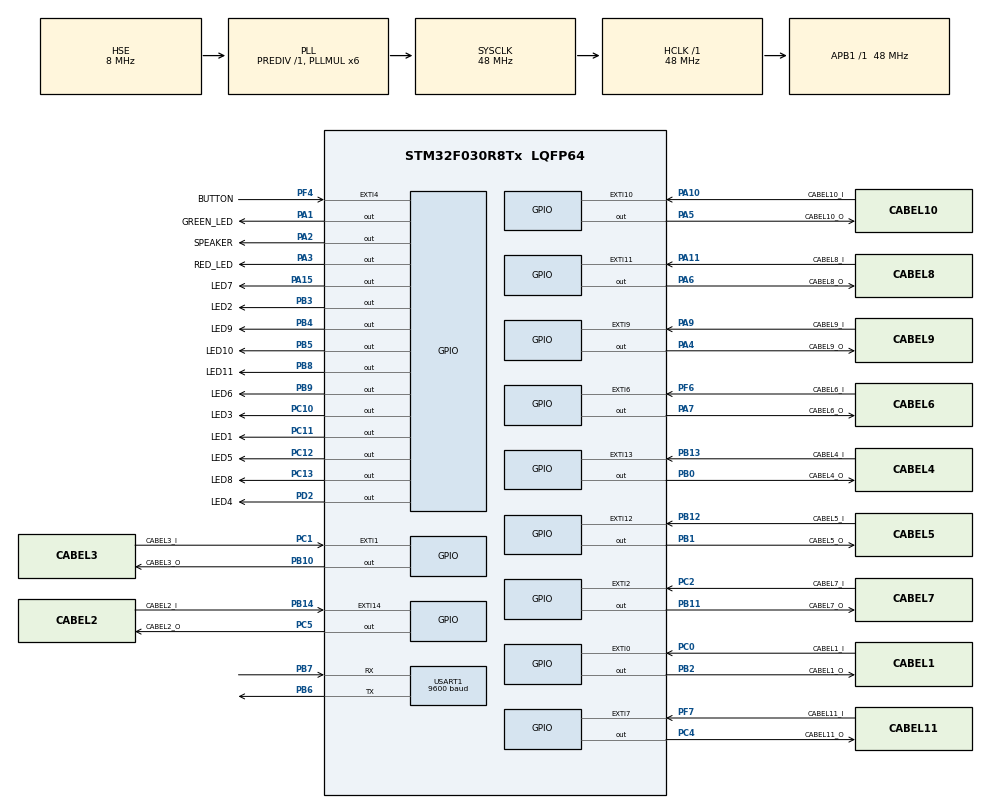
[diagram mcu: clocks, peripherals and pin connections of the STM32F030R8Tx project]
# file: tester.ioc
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Mcu.Family=STM32F0
Mcu.Name=STM32F030R8Tx
Mcu.Package=LQFP64
NVIC.EXTI0_1_IRQn=true\:0\:0\:false\:true\:true\:1\:true\:true\:true
NVIC.EXTI2_3_IRQn=true\:0\:0\:false\:true\:true\:2\:true\:true\:true
NVIC.EXTI4_15_IRQn=true\:0\:0\:false\:true\:true\:3\:true\:true\:true
NVIC.RCC_IRQn=true\:0\:0\:false\:true\:true\:5\:true\:false\:true
NVIC.TIM6_IRQn=true\:0\:0\:false\:true\:true\:4\:true\:true\:true
PA1.GPIO_Label=GREEN_LED
PA1.GPIO_PuPd=GPIO_PULLUP
PA1.GPIO_Speed=GPIO_SPEED_FREQ_HIGH
PA1.PinState=GPIO_PIN_SET
PA1.Signal=GPIO_Output
PA10.GPIO_Label=CABEL10_I
PA10.GPIO_PuPd=GPIO_PULLDOWN
PA10.Signal=GPXTI10
PA11.GPIO_Label=CABEL8_I
PA11.GPIO_PuPd=GPIO_PULLDOWN
PA11.Signal=GPXTI11
PA13.Mode=Serial_Wire
PA13.Signal=SYS_SWDIO
PA14.Mode=Serial_Wire
PA14.Signal=SYS_SWCLK
PA15.GPIO_Label=LED7
PA15.GPIO_PuPd=GPIO_PULLUP
PA15.PinState=GPIO_PIN_SET
PA15.Signal=GPIO_Output
PA2.GPIO_Label=SPEAKER
PA2.GPIO_PuPd=GPIO_PULLDOWN
PA2.Signal=GPIO_Output
PA3.GPIO_Label=RED_LED
PA3.GPIO_PuPd=GPIO_PULLUP
PA3.GPIO_Speed=GPIO_SPEED_FREQ_HIGH
PA3.PinState=GPIO_PIN_SET
PA3.Signal=GPIO_Output
PA4.GPIO_Label=CABEL9_O
PA4.GPIO_PuPd=GPIO_PULLDOWN
PA4.Signal=GPIO_Output
PA5.GPIO_Label=CABEL10_O
PA5.GPIO_PuPd=GPIO_PULLDOWN
PA5.Signal=GPIO_Output
PA6.GPIO_Label=CABEL8_O
PA6.GPIO_PuPd=GPIO_PULLDOWN
PA6.Signal=GPIO_Output
PA7.GPIO_Label=CABEL6_O
PA7.GPIO_PuPd=GPIO_PULLDOWN
PA7.Signal=GPIO_Output
PA9.GPIO_Label=CABEL9_I
PA9.GPIO_ModeDefaultEXTI=GPIO_MODE_IT_RISING
PA9.GPIO_PuPd=GPIO_PULLDOWN
PA9.Signal=GPXTI9
PB0.GPIO_Label=CABEL4_O
PB0.GPIO_PuPd=GPIO_PULLDOWN
PB0.Signal=GPIO_Output
PB1.GPIO_Label=CABEL5_O
PB1.GPIO_PuPd=GPIO_PULLDOWN
PB1.Signal=GPIO_Output
PB10.GPIO_Label=CABEL3_O
PB10.GPIO_PuPd=GPIO_PULLDOWN
PB10.Signal=GPIO_Output
PB11.GPIO_Label=CABEL7_O
PB11.GPIO_PuPd=GPIO_PULLDOWN
PB11.Signal=GPIO_Output
PB12.GPIO_Label=CABEL5_I
PB12.GPIO_ModeDefaultEXTI=GPIO_MODE_IT_RISING
PB12.GPIO_PuPd=GPIO_PULLDOWN
PB12.Signal=GPXTI12
PB13.GPIO_Label=CABEL4_I
PB13.GPIO_PuPd=GPIO_PULLDOWN
PB13.Signal=GPXTI13
PB14.GPIO_Label=CABEL2_I
PB14.GPIO_PuPd=GPIO_PULLDOWN
PB14.Signal=GPXTI14
PB2.GPIO_Label=CABEL1_O
PB2.GPIO_PuPd=GPIO_PULLDOWN
PB2.Signal=GPIO_Output
PB3.GPIO_Label=LED2
PB3.GPIO_PuPd=GPIO_PULLUP
PB3.GPIO_Speed=GPIO_SPEED_FREQ_HIGH
PB3.PinState=GPIO_PIN_SET
PB3.Signal=GPIO_Output
PB4.GPIO_Label=LED9
PB4.GPIO_PuPd=GPIO_PULLUP
PB4.GPIO_Speed=GPIO_SPEED_FREQ_HIGH
PB4.PinState=GPIO_PIN_SET
PB4.Signal=GPIO_Output
PB5.GPIO_Label=LED10
PB5.GPIO_PuPd=GPIO_PULLUP
PB5.GPIO_Speed=GPIO_SPEED_FREQ_HIGH
PB5.PinState=GPIO_PIN_SET
PB5.Signal=GPIO_Output
PB6.Mode=Asynchronous
PB6.Signal=USART1_TX
PB7.Mode=Asynchronous
PB7.Signal=USART1_RX
PB8.GPIO_Label=LED11
PB8.GPIO_PuPd=GPIO_PULLUP
PB8.GPIO_Speed=GPIO_SPEED_FREQ_HIGH
PB8.PinState=GPIO_PIN_SET
PB8.Signal=GPIO_Output
PB9.GPIO_Label=LED6
PB9.GPIO_PuPd=GPIO_PULLUP
PB9.GPIO_Speed=GPIO_SPEED_FREQ_HIGH
PB9.PinState=GPIO_PIN_SET
PB9.Signal=GPIO_Output
PC0.GPIO_Label=CABEL1_I
PC0.GPIO_PuPd=GPIO_PULLDOWN
PC0.Signal=GPXTI0
PC1.GPIO_Label=CABEL3_I
PC1.GPIO_PuPd=GPIO_PULLDOWN
PC1.Signal=GPXTI1
PC10.GPIO_Label=LED3
PC10.GPIO_PuPd=GPIO_PULLUP
PC10.GPIO_Speed=GPIO_SPEED_FREQ_HIGH
PC10.PinState=GPIO_PIN_SET
PC10.Signal=GPIO_Output
PC11.GPIO_Label=LED1
PC11.GPIO_PuPd=GPIO_PULLUP
PC11.GPIO_Speed=GPIO_SPEED_FREQ_HIGH
PC11.PinState=GPIO_PIN_SET
PC11.Signal=GPIO_Output
PC12.GPIO_Label=LED5
PC12.GPIO_PuPd=GPIO_PULLUP
PC12.GPIO_Speed=GPIO_SPEED_FREQ_HIGH
PC12.PinState=GPIO_PIN_SET
PC12.Signal=GPIO_Output
PC13.GPIO_Label=LED8
PC13.GPIO_PuPd=GPIO_PULLUP
PC13.PinState=GPIO_PIN_SET
PC13.Signal=GPIO_Output
PC14-OSC32_IN.Mode=LSE-External-Oscillator
PC14-OSC32_IN.Signal=RCC_OSC32_IN
PC15-OSC32_OUT.Mode=LSE-External-Oscillator
PC15-OSC32_OUT.Signal=RCC_OSC32_OUT
PC2.GPIO_Label=CABEL7_I
PC2.GPIO_ModeDefaultEXTI=GPIO_MODE_IT_RISING
PC2.GPIO_PuPd=GPIO_PULLDOWN
PC2.Signal=GPXTI2
PC4.GPIO_Label=CABEL11_O
PC4.GPIO_PuPd=GPIO_PULLDOWN
PC4.Signal=GPIO_Output
PC5.GPIO_Label=CABEL2_O
PC5.GPIO_PuPd=GPIO_PULLDOWN
PC5.Signal=GPIO_Output
PD2.GPIO_Label=LED4
PD2.GPIO_PuPd=GPIO_PULLUP
PD2.GPIO_Speed=GPIO_SPEED_FREQ_HIGH
PD2.PinState=GPIO_PIN_SET
PD2.Signal=GPIO_Output
PF0-OSC_IN.Mode=HSE-External-Oscillator
PF0-OSC_IN.Signal=RCC_OSC_IN
PF1-OSC_OUT.Mode=HSE-External-Oscillator
PF1-OSC_OUT.Signal=RCC_OSC_OUT
PF4.GPIO_Label=BUTTON
PF4.GPIO_ModeDefaultEXTI=GPIO_MODE_IT_FALLING
PF4.GPIO_PuPd=GPIO_PULLUP
PF4.Signal=GPXTI4
PF6.GPIO_Label=CABEL6_I
PF6.GPIO_PuPd=GPIO_PULLDOWN
PF6.Signal=GPXTI6
PF7.GPIO_Label=CABEL11_I
PF7.GPIO_PuPd=GPIO_PULLDOWN
PF7.Signal=GPXTI7
ProjectManager.HeapSize=0x200
ProjectManager.StackSize=0x400
ProjectManager.TargetToolchain=STM32CubeIDE
RCC.AHBFreq_Value=48000000
RCC.APB1Freq_Value=48000000
RCC.APB1TimFreq_Value=48000000
RCC.HCLKFreq_Value=48000000
RCC.PLLMUL=RCC_PLL_MUL6
RCC.PLLSourceVirtual=RCC_PLLSOURCE_HSE
RCC.SYSCLKFreq_VALUE=48000000
RCC.SYSCLKSource=RCC_SYSCLKSOURCE_PLLCLK
TIM6.Period=10000
TIM6.Prescaler=359
USART1.BaudRate=9600
USART1.VirtualMode-Asynchronous=VM_ASYNC
VP_RTC_VS_RTC_Activate.Mode=RTC_Enabled
VP_TIM14_VS_ClockSourceINT.Mode=Enable_Timer
VP_TIM6_VS_ClockSourceINT.Mode=Enable_Timer
board=custom

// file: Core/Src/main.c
/* USER CODE BEGIN Header */
/**
  ******************************************************************************
  * @file           : main.c
  * @brief          : Main program body
  ******************************************************************************
  * @attention
  *
  * Copyright (c) 2024 STMicroelectronics.
  * All rights reserved.
  *
  * This software is licensed under terms that can be found in the LICENSE file
  * in the root directory of this software component.
  * If no LICENSE file comes with this software, it is provided AS-IS.
  *
  ******************************************************************************
  */
/* USER CODE END Header */
#include "main.h"

/* USER CODE BEGIN Includes */
#include <string.h>
/* USER CODE END Includes */

RTC_HandleTypeDef hrtc;

TIM_HandleTypeDef htim6;
TIM_HandleTypeDef htim14;

UART_HandleTypeDef huart1;

void SystemClock_Config(void);
static void MX_GPIO_Init(void);
static void MX_RTC_Init(void);
static void MX_TIM6_Init(void);
static void MX_TIM14_Init(void);
static void MX_USART1_UART_Init(void);
static void MX_NVIC_Init(void);

/* USER CODE BEGIN 0 */
uint8_t StartTest = 0;
GPIO_TypeDef* PortLed[] = {GPIOB, GPIOB, GPIOB, GPIOB, GPIOB, GPIOB, GPIOD, GPIOC, GPIOC, GPIOC, GPIOA};
uint16_t PinLed[] = {LED1_Pin, LED2_Pin, LED3_Pin, LED4_Pin, LED5_Pin, LED6_Pin, LED7_Pin, LED8_Pin, LED9_Pin, LED10_Pin, LED11_Pin};

static uint8_t ErrorTest = 0;

static uint16_t ResPinTest[11] = {0,0,0,0,0,0,0,0,0,0,0};
const uint16_t Cabel_Pin[] = {CABEL1_O_Pin, CABEL2_O_Pin, CABEL3_O_Pin, CABEL4_O_Pin, CABEL5_O_Pin, CABEL6_O_Pin, CABEL7_O_Pin, CABEL8_O_Pin, CABEL9_O_Pin, CABEL10_O_Pin, CABEL11_O_Pin};
static int count = 0;
static int countCabelInter = 0;
static int countCabelInterIndivid = 0; // для 2 и 11 пина
static int arrayCount = 0;
static int ShortCut = 0;
/* USER CODE END 0 */

int main(void)
{

  /* MCU Configuration--------------------------------------------------------*/

  /* Reset of all peripherals, Initializes the Flash interface and the Systick. */
  HAL_Init();

  /* Configure the system clock */
  SystemClock_Config();

  /* Initialize all configured peripherals */
  MX_GPIO_Init();
  MX_RTC_Init();
  MX_TIM6_Init();
  MX_TIM14_Init();
  MX_USART1_UART_Init();

  /* Initialize interrupts */
  MX_NVIC_Init();

  /* Infinite loop */
  while (1)
  {

    /* USER CODE BEGIN 3 */

	  //sprintf(str, "Результат теста:\n %x \n", dataTx);
	  //HAL_UART_Transmit(&huart1, str, strlen((char *)str), 50);
	  if(arrayCount < 11)
	  {
		  HAL_GPIO_WritePin(GetPort(arrayCount), Cabel_Pin[arrayCount], GPIO_PIN_SET);
		  //HAL_GPIO_TogglePin(RED_LED_GPIO_Port, RED_LED_Pin);

		  HAL_Delay(150);

		  HAL_GPIO_WritePin(GetPort(arrayCount), Cabel_Pin[arrayCount], GPIO_PIN_RESET);

		  /*
		   * CASE A
		   * Замыкание на 1-5, 8 - 11 пине
		   *
		   * CASE B
		   * Замыкание на 6, 7 пине
		   * */
		  /*
		  switch(count)
		  {
		  case 5:
			  if(countCabelInterIndivid > 2)
			  {
				  HAL_GPIO_WritePin(PortLed[arrayCount], PinLed[arrayCount], GPIO_PIN_SET);
				  ErrorTest = 1;
				  ShortCut = 1;
			  }
			  break;
		  case 6:
			  if(countCabelInterIndivid > 2)
			  {
				  HAL_GPIO_WritePin(PortLed[arrayCount], PinLed[arrayCount], GPIO_PIN_SET);
				  ErrorTest = 1;
				  ShortCut = 1;
			  }
			  break;
		  default:
			  if(countCabelInter > 1)
			  {
				  HAL_GPIO_WritePin(PortLed[arrayCount], PinLed[arrayCount], GPIO_PIN_SET);
				  ErrorTest = 1;
				  ShortCut = 1;
			  }
			  break;
		  }
	*/
		  count++;
		  arrayCount++;
		  countCabelInter = 0;
		  countCabelInterIndivid = 0;
	  }

	  if(arrayCount == 11)
	  {
		  for(int i = 0; i < 11; i++)
		  {
			  if(ResPinTest[i] == 0)
			  {
				  ErrorTest = 1;
			  }
		  }
		  uint8_t str[400];
		  sprintf(str, "Result test: \n CAN1H = %x \n CAN1L = %x \n CAN2H = %x \n CAN2L = %x \n GND = %x \n +12V = %x \n U_Power = %x \n IGN1 = %x \n Start = %x \n IGN2 = %x \n LIN = %x \n" , ResPinTest[0], ResPinTest[1], ResPinTest[2], ResPinTest[3], ResPinTest[4], ResPinTest[5], ResPinTest[6], ResPinTest[7], ResPinTest[8], ResPinTest[9], ResPinTest[10] );

		  HAL_UART_Transmit(&huart1, str, strlen((char *)str), 100);
		  arrayCount++;
		  if(ErrorTest)
		  {
			  HAL_GPIO_WritePin(RED_LED_GPIO_Port, RED_LED_Pin, GPIO_PIN_RESET);
			  if(ShortCut)
			  {
				  for(int i = 0; i < 3; i++)
				  {
				  		HAL_GPIO_WritePin(SPEAKER_GPIO_Port, SPEAKER_Pin, GPIO_PIN_SET);
				  		HAL_Delay(250);
				  		HAL_GPIO_WritePin(SPEAKER_GPIO_Port, SPEAKER_Pin, GPIO_PIN_RESET);
				  		HAL_Delay(250);
				  }
			  }
			  else
			  {

				  for(int i = 0; i < 3; i++)
				  {
				  	HAL_GPIO_WritePin(SPEAKER_GPIO_Port, SPEAKER_Pin, GPIO_PIN_SET);
				  	if(i == 2)
				  	{
				  		HAL_Delay(1000);
				  	}else
				  	{
				  		HAL_Delay(250);
				  	}

				  	HAL_GPIO_WritePin(SPEAKER_GPIO_Port, SPEAKER_Pin, GPIO_PIN_RESET);
				  	HAL_Delay(250);
				  }
			  }

		  }
		  else
		  {
			  HAL_GPIO_WritePin(GREEN_LED_GPIO_Port, GREEN_LED_Pin, GPIO_PIN_RESET);
		  }

	  }

  }
  /* USER CODE END 3 */
}

void SystemClock_Config(void)
{
  RCC_OscInitTypeDef RCC_OscInitStruct = {0};
  RCC_ClkInitTypeDef RCC_ClkInitStruct = {0};
  RCC_PeriphCLKInitTypeDef PeriphClkInit = {0};

  /** Initializes the RCC Oscillators according to the specified parameters
  * in the RCC_OscInitTypeDef structure.
  */
  RCC_OscInitStruct.OscillatorType = RCC_OSCILLATORTYPE_LSI|RCC_OSCILLATORTYPE_HSE;
  RCC_OscInitStruct.HSEState = RCC_HSE_ON;
  RCC_OscInitStruct.LSIState = RCC_LSI_ON;
  RCC_OscInitStruct.PLL.PLLState = RCC_PLL_ON;
  RCC_OscInitStruct.PLL.PLLSource = RCC_PLLSOURCE_HSE;
  RCC_OscInitStruct.PLL.PLLMUL = RCC_PLL_MUL6;
  RCC_OscInitStruct.PLL.PREDIV = RCC_PREDIV_DIV1;
  if (HAL_RCC_OscConfig(&RCC_OscInitStruct) != HAL_OK)
  {
    Error_Handler();
  }

  /** Initializes the CPU, AHB and APB buses clocks
  */
  RCC_ClkInitStruct.ClockType = RCC_CLOCKTYPE_HCLK|RCC_CLOCKTYPE_SYSCLK
                              |RCC_CLOCKTYPE_PCLK1;
  RCC_ClkInitStruct.SYSCLKSource = RCC_SYSCLKSOURCE_PLLCLK;
  RCC_ClkInitStruct.AHBCLKDivider = RCC_SYSCLK_DIV1;
  RCC_ClkInitStruct.APB1CLKDivider = RCC_HCLK_DIV1;

  if (HAL_RCC_ClockConfig(&RCC_ClkInitStruct, FLASH_LATENCY_1) != HAL_OK)
  {
    Error_Handler();
  }
  PeriphClkInit.PeriphClockSelection = RCC_PERIPHCLK_USART1|RCC_PERIPHCLK_RTC;
  PeriphClkInit.Usart1ClockSelection = RCC_USART1CLKSOURCE_PCLK1;
  PeriphClkInit.RTCClockSelection = RCC_RTCCLKSOURCE_LSI;
  if (HAL_RCCEx_PeriphCLKConfig(&PeriphClkInit) != HAL_OK)
  {
    Error_Handler();
  }
}

/**
  * @brief NVIC Configuration.
  * @retval None
  */
static void MX_NVIC_Init(void)
{
  /* EXTI0_1_IRQn interrupt configuration */
  HAL_NVIC_SetPriority(EXTI0_1_IRQn, 0, 0);
  HAL_NVIC_EnableIRQ(EXTI0_1_IRQn);
  /* EXTI2_3_IRQn interrupt configuration */
  HAL_NVIC_SetPriority(EXTI2_3_IRQn, 0, 0);
  HAL_NVIC_EnableIRQ(EXTI2_3_IRQn);
  /* EXTI4_15_IRQn interrupt configuration */
  HAL_NVIC_SetPriority(EXTI4_15_IRQn, 0, 0);
  HAL_NVIC_EnableIRQ(EXTI4_15_IRQn);
  /* TIM6_IRQn interrupt configuration */
  HAL_NVIC_SetPriority(TIM6_IRQn, 0, 0);
  HAL_NVIC_EnableIRQ(TIM6_IRQn);
  /* RCC_IRQn interrupt configuration */
  HAL_NVIC_SetPriority(RCC_IRQn, 0, 0);
  HAL_NVIC_EnableIRQ(RCC_IRQn);
}

static void MX_RTC_Init(void)
{

  /** Initialize RTC Only
  */
  hrtc.Instance = RTC;
  hrtc.Init.HourFormat = RTC_HOURFORMAT_24;
  hrtc.Init.AsynchPrediv = 127;
  hrtc.Init.SynchPrediv = 255;
  hrtc.Init.OutPut = RTC_OUTPUT_DISABLE;
  hrtc.Init.OutPutPolarity = RTC_OUTPUT_POLARITY_HIGH;
  hrtc.Init.OutPutType = RTC_OUTPUT_TYPE_OPENDRAIN;
  if (HAL_RTC_Init(&hrtc) != HAL_OK)
  {
    Error_Handler();
  }

}

static void MX_TIM6_Init(void)
{

  htim6.Instance = TIM6;
  htim6.Init.Prescaler = 359;
  htim6.Init.CounterMode = TIM_COUNTERMODE_UP;
  htim6.Init.Period = 10000;
  htim6.Init.AutoReloadPreload = TIM_AUTORELOAD_PRELOAD_DISABLE;
  if (HAL_TIM_Base_Init(&htim6) != HAL_OK)
  {
    Error_Handler();
  }

}

static void MX_TIM14_Init(void)
{

  htim14.Instance = TIM14;
  htim14.Init.Prescaler = 0;
  htim14.Init.CounterMode = TIM_COUNTERMODE_UP;
  htim14.Init.Period = 65535;
  htim14.Init.ClockDivision = TIM_CLOCKDIVISION_DIV1;
  htim14.Init.AutoReloadPreload = TIM_AUTORELOAD_PRELOAD_DISABLE;
  if (HAL_TIM_Base_Init(&htim14) != HAL_OK)
  {
    Error_Handler();
  }

}

static void MX_USART1_UART_Init(void)
{

  huart1.Instance = USART1;
  huart1.Init.BaudRate = 115200;
  huart1.Init.WordLength = UART_WORDLENGTH_8B;
  huart1.Init.StopBits = UART_STOPBITS_1;
  huart1.Init.Parity = UART_PARITY_NONE;
  huart1.Init.Mode = UART_MODE_TX_RX;
  huart1.Init.HwFlowCtl = UART_HWCONTROL_NONE;
  huart1.Init.OverSampling = UART_OVERSAMPLING_16;
  huart1.Init.OneBitSampling = UART_ONE_BIT_SAMPLE_DISABLE;
  huart1.AdvancedInit.AdvFeatureInit = UART_ADVFEATURE_NO_INIT;
  if (HAL_UART_Init(&huart1) != HAL_OK)
  {
    Error_Handler();
  }

}

static void MX_GPIO_Init(void)
{
  GPIO_InitTypeDef GPIO_InitStruct = {0};

  /* GPIO Ports Clock Enable */
  __HAL_RCC_GPIOC_CLK_ENABLE();
  __HAL_RCC_GPIOF_CLK_ENABLE();
  __HAL_RCC_GPIOA_CLK_ENABLE();
  __HAL_RCC_GPIOB_CLK_ENABLE();
  __HAL_RCC_GPIOD_CLK_ENABLE();

  /*Configure GPIO pin Output Level */
  HAL_GPIO_WritePin(GPIOC, LED8_Pin|LED3_Pin|LED1_Pin|LED5_Pin, GPIO_PIN_SET);

  /*Configure GPIO pin Output Level */
  HAL_GPIO_WritePin(GPIOA, GREEN_LED_Pin|RED_LED_Pin|LED7_Pin, GPIO_PIN_SET);

  /*Configure GPIO pin Output Level */
  HAL_GPIO_WritePin(GPIOA, SPEAKER_Pin|CABEL9_O_Pin|CABEL10_O_Pin|CABEL8_O_Pin
                          |CABEL6_O_Pin, GPIO_PIN_RESET);

  /*Configure GPIO pin Output Level */
  HAL_GPIO_WritePin(GPIOC, CABEL11_O_Pin|CABEL2_O_Pin, GPIO_PIN_RESET);

  /*Configure GPIO pin Output Level */
  HAL_GPIO_WritePin(GPIOB, CABEL4_O_Pin|CABEL5_O_Pin|CABEL1_O_Pin|CABEL3_O_Pin
                          |CABEL7_O_Pin, GPIO_PIN_RESET);

  /*Configure GPIO pin Output Level */
  HAL_GPIO_WritePin(LED4_GPIO_Port, LED4_Pin, GPIO_PIN_SET);

  /*Configure GPIO pin Output Level */
  HAL_GPIO_WritePin(GPIOB, LED2_Pin|LED9_Pin|LED10_Pin|LED11_Pin
                          |LED6_Pin, GPIO_PIN_SET);

  /*Configure GPIO pin : LED8_Pin */
  GPIO_InitStruct.Pin = LED8_Pin;
  GPIO_InitStruct.Mode = GPIO_MODE_OUTPUT_PP;
  GPIO_InitStruct.Pull = GPIO_PULLUP;
  GPIO_InitStruct.Speed = GPIO_SPEED_FREQ_LOW;
  HAL_GPIO_Init(LED8_GPIO_Port, &GPIO_InitStruct);

  /*Configure GPIO pins : CABEL1_I_Pin CABEL3_I_Pin CABEL7_I_Pin */
  GPIO_InitStruct.Pin = CABEL1_I_Pin|CABEL3_I_Pin|CABEL7_I_Pin;
  GPIO_InitStruct.Mode = GPIO_MODE_IT_RISING;
  GPIO_InitStruct.Pull = GPIO_PULLDOWN;
  HAL_GPIO_Init(GPIOC, &GPIO_InitStruct);

  /*Configure GPIO pins : GREEN_LED_Pin RED_LED_Pin */
  GPIO_InitStruct.Pin = GREEN_LED_Pin|RED_LED_Pin;
  GPIO_InitStruct.Mode = GPIO_MODE_OUTPUT_PP;
  GPIO_InitStruct.Pull = GPIO_PULLUP;
  GPIO_InitStruct.Speed = GPIO_SPEED_FREQ_HIGH;
  HAL_GPIO_Init(GPIOA, &GPIO_InitStruct);

  /*Configure GPIO pins : SPEAKER_Pin CABEL9_O_Pin CABEL10_O_Pin CABEL8_O_Pin
                           CABEL6_O_Pin */
  GPIO_InitStruct.Pin = SPEAKER_Pin|CABEL9_O_Pin|CABEL10_O_Pin|CABEL8_O_Pin
                          |CABEL6_O_Pin;
  GPIO_InitStruct.Mode = GPIO_MODE_OUTPUT_PP;
  GPIO_InitStruct.Pull = GPIO_PULLDOWN;
  GPIO_InitStruct.Speed = GPIO_SPEED_FREQ_LOW;
  HAL_GPIO_Init(GPIOA, &GPIO_InitStruct);

  /*Configure GPIO pin : BUTTON_Pin */
  GPIO_InitStruct.Pin = BUTTON_Pin;
  GPIO_InitStruct.Mode = GPIO_MODE_IT_FALLING;
  GPIO_InitStruct.Pull = GPIO_PULLUP;
  HAL_GPIO_Init(BUTTON_GPIO_Port, &GPIO_InitStruct);

  /*Configure GPIO pins : CABEL11_O_Pin CABEL2_O_Pin */
  GPIO_InitStruct.Pin = CABEL11_O_Pin|CABEL2_O_Pin;
  GPIO_InitStruct.Mode = GPIO_MODE_OUTPUT_PP;
  GPIO_InitStruct.Pull = GPIO_PULLDOWN;
  GPIO_InitStruct.Speed = GPIO_SPEED_FREQ_LOW;
  HAL_GPIO_Init(GPIOC, &GPIO_InitStruct);

  /*Configure GPIO pins : CABEL4_O_Pin CABEL5_O_Pin CABEL1_O_Pin CABEL3_O_Pin
                           CABEL7_O_Pin */
  GPIO_InitStruct.Pin = CABEL4_O_Pin|CABEL5_O_Pin|CABEL1_O_Pin|CABEL3_O_Pin
                          |CABEL7_O_Pin;
  GPIO_InitStruct.Mode = GPIO_MODE_OUTPUT_PP;
  GPIO_InitStruct.Pull = GPIO_PULLDOWN;
  GPIO_InitStruct.Speed = GPIO_SPEED_FREQ_LOW;
  HAL_GPIO_Init(GPIOB, &GPIO_InitStruct);

  /*Configure GPIO pins : CABEL5_I_Pin CABEL4_I_Pin CABEL2_I_Pin */
  GPIO_InitStruct.Pin = CABEL5_I_Pin|CABEL4_I_Pin|CABEL2_I_Pin;
  GPIO_InitStruct.Mode = GPIO_MODE_IT_RISING;
  GPIO_InitStruct.Pull = GPIO_PULLDOWN;
  HAL_GPIO_Init(GPIOB, &GPIO_InitStruct);

  /*Configure GPIO pins : CABEL9_I_Pin CABEL10_I_Pin CABEL8_I_Pin */
  GPIO_InitStruct.Pin = CABEL9_I_Pin|CABEL10_I_Pin|CABEL8_I_Pin;
  GPIO_InitStruct.Mode = GPIO_MODE_IT_RISING;
  GPIO_InitStruct.Pull = GPIO_PULLDOWN;
  HAL_GPIO_Init(GPIOA, &GPIO_InitStruct);

  /*Configure GPIO pins : CABEL6_I_Pin CABEL11_I_Pin */
  GPIO_InitStruct.Pin = CABEL6_I_Pin|CABEL11_I_Pin;
  GPIO_InitStruct.Mode = GPIO_MODE_IT_RISING;
  GPIO_InitStruct.Pull = GPIO_PULLDOWN;
  HAL_GPIO_Init(GPIOF, &GPIO_InitStruct);

  /*Configure GPIO pin : LED7_Pin */
  GPIO_InitStruct.Pin = LED7_Pin;
  GPIO_InitStruct.Mode = GPIO_MODE_OUTPUT_PP;
  GPIO_InitStruct.Pull = GPIO_PULLUP;
  GPIO_InitStruct.Speed = GPIO_SPEED_FREQ_LOW;
  HAL_GPIO_Init(LED7_GPIO_Port, &GPIO_InitStruct);

  /*Configure GPIO pins : LED3_Pin LED1_Pin LED5_Pin */
  GPIO_InitStruct.Pin = LED3_Pin|LED1_Pin|LED5_Pin;
  GPIO_InitStruct.Mode = GPIO_MODE_OUTPUT_PP;
  GPIO_InitStruct.Pull = GPIO_PULLUP;
  GPIO_InitStruct.Speed = GPIO_SPEED_FREQ_HIGH;
  HAL_GPIO_Init(GPIOC, &GPIO_InitStruct);

  /*Configure GPIO pin : LED4_Pin */
  GPIO_InitStruct.Pin = LED4_Pin;
  GPIO_InitStruct.Mode = GPIO_MODE_OUTPUT_PP;
  GPIO_InitStruct.Pull = GPIO_PULLUP;
  GPIO_InitStruct.Speed = GPIO_SPEED_FREQ_HIGH;
  HAL_GPIO_Init(LED4_GPIO_Port, &GPIO_InitStruct);

  /*Configure GPIO pins : LED2_Pin LED9_Pin LED10_Pin LED11_Pin
                           LED6_Pin */
  GPIO_InitStruct.Pin = LED2_Pin|LED9_Pin|LED10_Pin|LED11_Pin
                          |LED6_Pin;
  GPIO_InitStruct.Mode = GPIO_MODE_OUTPUT_PP;
  GPIO_InitStruct.Pull = GPIO_PULLUP;
  GPIO_InitStruct.Speed = GPIO_SPEED_FREQ_HIGH;
  HAL_GPIO_Init(GPIOB, &GPIO_InitStruct);

}

/* USER CODE BEGIN 4 */
#define STOP 0
#define START 1
#define ERROR 0
#define SUCCESS 1

static uint8_t TestState = STOP;
static uint8_t TestRes = ERROR;

void TestCase(void)
{
	if(TestState == START)
	{

	}else return;
}

static uint8_t wait = 0;

void HAL_GPIO_EXTI_Callback(uint16_t GPIO_Pin)
{
  /* Prevent unused argument(s) compilation warning */
  UNUSED(GPIO_Pin);

  switch(GPIO_Pin)
  {
  	  case BUTTON_Pin:
  		  break;
  	  case CABEL1_I_Pin:
  		  countCabelInter++;
  		  if(count == 0 && countCabelInter == 1)
  		  {
  			  ResPinTest[0] = 1;
  			  LedOn(LED1_GPIO_Port, LED1_Pin);
  		  }
  		  break;
  	  case CABEL2_I_Pin:
  		  countCabelInter++;
  		  if(count == 1 && countCabelInter == 1)
  		  {
  			  ResPinTest[1] = 1;
  			  LedOn(LED2_GPIO_Port, LED2_Pin);
  		  }
  		  break;
  	  case CABEL3_I_Pin:
  		  countCabelInter++;
  		  if(count == 2 && countCabelInter == 1)
  		  {
  			  ResPinTest[2] = 1;
  			  LedOn(LED3_GPIO_Port, LED3_Pin);
  		  }
  	  	  break;
  	  case CABEL4_I_Pin:
  		  countCabelInter++;
  		  if(count == 3 && countCabelInter == 1)
  		  {
  			  ResPinTest[3] = 1;
  			  LedOn(LED4_GPIO_Port, LED4_Pin);
  		  }
  		  break;
  	  case CABEL5_I_Pin:
  		  countCabelInter++;
  		  if(count == 4 && countCabelInter == 1)
  		  {
  			  ResPinTest[4] = 1;
  			  LedOn(LED5_GPIO_Port, LED5_Pin);
  		  }
  		  break;
  	  case CABEL6_I_Pin:
  		  countCabelInter++;
  		  if(count == 5 && (countCabelInter == 1 || countCabelInter == 2))
  		  {
  			  LedOn(LED6_GPIO_Port, LED6_Pin);
  			  ResPinTest[5] = 1;
  		  }
  		  break;
  	  case CABEL7_I_Pin:
  		  countCabelInter++;
  		  if(count == 6 && (countCabelInter == 1 || countCabelInter == 2))
  		  {
  			  ResPinTest[6] = 1;
  			  LedOn(LED7_GPIO_Port, LED7_Pin);
  		  }
  		  break;
  	  case CABEL8_I_Pin:
  		  countCabelInter++;
  		  if(count == 7 && countCabelInter == 1)
  		  {
  			  ResPinTest[7] = 1;
  			  LedOn(LED8_GPIO_Port, LED8_Pin);
  		  }
  		  break;
  	  case CABEL9_I_Pin:
  		  countCabelInter++;
  		  if(count == 8 && countCabelInter == 1)
  		  {
  			  ResPinTest[8] = 1;
  			  LedOn(LED9_GPIO_Port, LED9_Pin);
  		  }
  		  break;
  	  case CABEL10_I_Pin:
  		  countCabelInter++;
  		  if(count == 9 && countCabelInter == 1)
  		  {
  			  ResPinTest[9] = 1;
  			  LedOn(LED10_GPIO_Port, LED10_Pin);
  		  }
  		  break;
  	  case CABEL11_I_Pin:
  		  countCabelInter++;
  		  if(count == 10 && countCabelInter == 1)
  		  {
  			  ResPinTest[10] = 1;
  			  LedOn(LED11_GPIO_Port, LED11_Pin);
  		  }
  		  break;
  	  default:
  		  TestRes = ERROR;
  		  break;
  }

}

void Delay(uint32_t value)
{
	while(value > 0)
	{
		value--;
	}
}

void CabelTestStart()
{
	StartTest = 0;

	for(int i = 0; i < 11; i++)
	{
		wait = 1;
		HAL_GPIO_WritePin(GetPort(i), Cabel_Pin[i], GPIO_PIN_SET);
		Delay(0xffffff);
		HAL_GPIO_WritePin(GetPort(i), Cabel_Pin[i], GPIO_PIN_RESET);
		if(TestRes == SUCCESS)
		{
			//ResPinTest[i] = SUCCESS;
		}
		TestRes = ERROR;
	}

	for(int i = 0; i < 11; i++)
	{
		if(ResPinTest[i] == ERROR)
		{
			ErrorTest = 1;
		}
	}
	if(ErrorTest == 1)
	{
		SignalError();
		ErrorTest = 0;
	}else
	{
		LedOn(GREEN_LED_GPIO_Port, GREEN_LED_Pin);
	}
	StartTest = 0;
	ErrorTest = 0;
	for(int i = 0; i < 11; i++)
	{
	  	ResPinTest[i] = ERROR;
	}

}

GPIO_TypeDef* GetPort(uint16_t GPIO_Pin)
{
	switch(GPIO_Pin)
	{
	case 0:
		return CABEL1_O_GPIO_Port;
		break;
	case 1:
		return CABEL2_O_GPIO_Port;
		break;
	case 2:
		return CABEL3_O_GPIO_Port;
		break;
	case 3:
		return CABEL4_O_GPIO_Port;
		break;
	case 4:
		return CABEL5_O_GPIO_Port;
		break;
	case 5:
		return CABEL6_O_GPIO_Port;
		break;
	case 6:
		return CABEL7_O_GPIO_Port;
		break;
	case 7:
		return CABEL8_O_GPIO_Port;
		break;
	case 8:
		return CABEL9_O_GPIO_Port;
		break;
	case 9:
		return CABEL10_O_GPIO_Port;
		break;
	case 10:
		return CABEL11_O_GPIO_Port;
		break;
	default:
		return GPIOA;
		break;
	}
}

void LedOn(GPIO_TypeDef* GPIOx, uint16_t GPIO_Pin)
{
	HAL_GPIO_WritePin(GPIOx, GPIO_Pin, GPIO_PIN_RESET);
}

void LedOff(GPIO_TypeDef* GPIOx, uint16_t GPIO_Pin)
{
	HAL_GPIO_WritePin(GPIOx, GPIO_Pin, GPIO_PIN_SET);
}

void LedOffAll(void)
{
	/*Configure GPIO pin Output Level */
	HAL_GPIO_WritePin(GPIOA, RED_LED_Pin|LED11_Pin, GPIO_PIN_SET);

	HAL_GPIO_WritePin(GPIOA, SPEAKER_Pin|CABEL1_O_Pin|CABEL2_O_Pin
		                         |CABEL3_O_Pin|CABEL4_O_Pin, GPIO_PIN_RESET);

	HAL_GPIO_WritePin(GPIOA, GREEN_LED_Pin, GPIO_PIN_SET);

	/*Configure GPIO pin Output Level */
	HAL_GPIO_WritePin(GPIOC, LED10_Pin|LED9_Pin|LED8_Pin, GPIO_PIN_SET);

	HAL_GPIO_WritePin(GPIOC, CABEL5_O_Pin|CABEL6_O_Pin, GPIO_PIN_RESET);
	/*Configure GPIO pin Output Level */
	HAL_GPIO_WritePin(GPIOB, LED6_Pin|LED5_Pin|LED4_Pin|LED3_Pin|LED2_Pin|LED1_Pin, GPIO_PIN_SET);

	HAL_GPIO_WritePin(GPIOB, CABEL7_O_Pin|CABEL8_O_Pin|CABEL9_O_Pin|CABEL10_O_Pin
		                         |CABEL11_O_Pin, GPIO_PIN_RESET);
	/*Configure GPIO pin Output Level */
	HAL_GPIO_WritePin(LED7_GPIO_Port, LED7_Pin, GPIO_PIN_SET);
}

void SignalError(void)
{
	HAL_GPIO_WritePin(RED_LED_GPIO_Port, RED_LED_Pin, GPIO_PIN_RESET);

	HAL_GPIO_WritePin(SPEAKER_GPIO_Port, SPEAKER_Pin, GPIO_PIN_SET);

	Delay(0xffff);

	HAL_GPIO_WritePin(SPEAKER_GPIO_Port, SPEAKER_Pin, GPIO_PIN_RESET);

}
/* USER CODE END 4 */

void Error_Handler(void)
{
  /* USER CODE BEGIN Error_Handler_Debug */
  /* User can add his own implementation to report the HAL error return state */
  //__disable_irq();
  while (1)
  {
  }
  /* USER CODE END Error_Handler_Debug */
}
